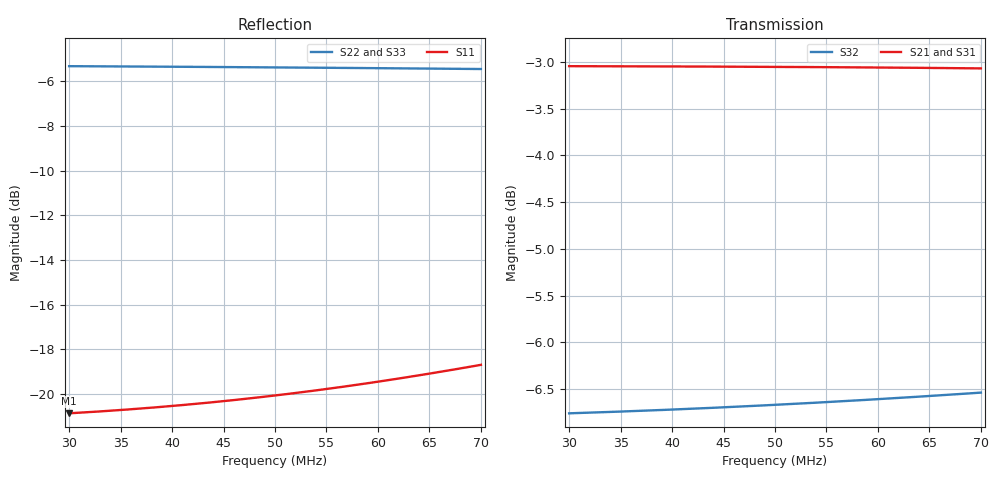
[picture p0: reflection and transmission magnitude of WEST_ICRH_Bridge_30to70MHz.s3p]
! Touchstone file exported from HFSS 2022.2.0
!  File:  C:/Users/JH218595/Documents/Modeling/WEST ICRH/WEST_ICRH_final.aedt
!  Generated:  9:51:05  mars 24, 2024
!  Design:  WEST-final-bridge
!  Project:  WEST_ICRH_final
!  Setup:  Setup1
!  Solution:  Sweep
!Data is not renormalized
# GHz S MA R 5.714405
! Terminal data exported
! Port[1] = 1
! Port[2] = 2
! Port[3] = 3
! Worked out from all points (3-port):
!   4001 points, 30 MHz to 70 MHz, reference per port
!   strongest paths, dB at 30 MHz, 40 MHz, 50 MHz, 60 MHz, 70 MHz:
!     S21: -3.0, -3.0, -3.1, -3.1, -3.1
!     S31: -3.0, -3.0, -3.1, -3.1, -3.1
!     S32: -6.8, -6.7, -6.7, -6.6, -6.5
!   lowest |S11| = -20.9 dB at 30 MHz (marker M1), VSWR 1.20
!   |S11| at or under -10 dB: start of sweep to end of sweep
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0.03  0.09061 -43.9  0.7041 165.2  0.7041 165.2
      0.7041 165.2  0.5413 171.5  0.4593 -12.9
      0.7041 165.2  0.4593 -12.9  0.5413 171.5
0.0302  0.09067 -44.2  0.7041 165.1  0.7041 165.1
        0.7041 165.1  0.5413 171.5  0.4593 -13.0
        0.7041 165.1  0.4593 -13.0  0.5413 171.5
0.03503  0.09218 -51.4  0.704 162.7  0.704 162.7
         0.704 162.7  0.5406 170.1  0.4603 -15.1
         0.704 162.7  0.4603 -15.1  0.5406 170.1
0.04013  0.09416 -58.9  0.7039 160.2  0.7039 160.2
         0.7039 160.2  0.5397 168.7  0.4614 -17.3
         0.7039 160.2  0.4614 -17.3  0.5397 168.7
0.04509  0.09652 -66.3  0.7037 157.7  0.7037 157.7
         0.7037 157.7  0.5389 167.3  0.4627 -19.5
         0.7037 157.7  0.4627 -19.5  0.5389 167.3
0.05  0.09932 -73.5  0.7035 155.3  0.7035 155.3
      0.7035 155.3  0.5379 165.9  0.4641 -21.7
      0.7035 155.3  0.4641 -21.7  0.5379 165.9
0.05478  0.1025 -80.5  0.7033 152.9  0.7033 152.9
         0.7033 152.9  0.5369 164.6  0.4656 -23.8
         0.7033 152.9  0.4656 -23.8  0.5369 164.6
0.05961  0.1063 -87.4  0.703 150.5  0.703 150.5
         0.703 150.5  0.5359 163.3  0.4672 -26.0
         0.703 150.5  0.4672 -26.0  0.5359 163.3
0.06439  0.1106 -94.2  0.7027 148.1  0.7027 148.1
         0.7027 148.1  0.5348 162.0  0.4689 -28.2
         0.7027 148.1  0.4689 -28.2  0.5348 162.0
0.07  0.1163 -101.9  0.7022 145.3  0.7022 145.3
      0.7022 145.3  0.5334 160.4  0.4711 -30.8
      0.7022 145.3  0.4711 -30.8  0.5334 160.4
